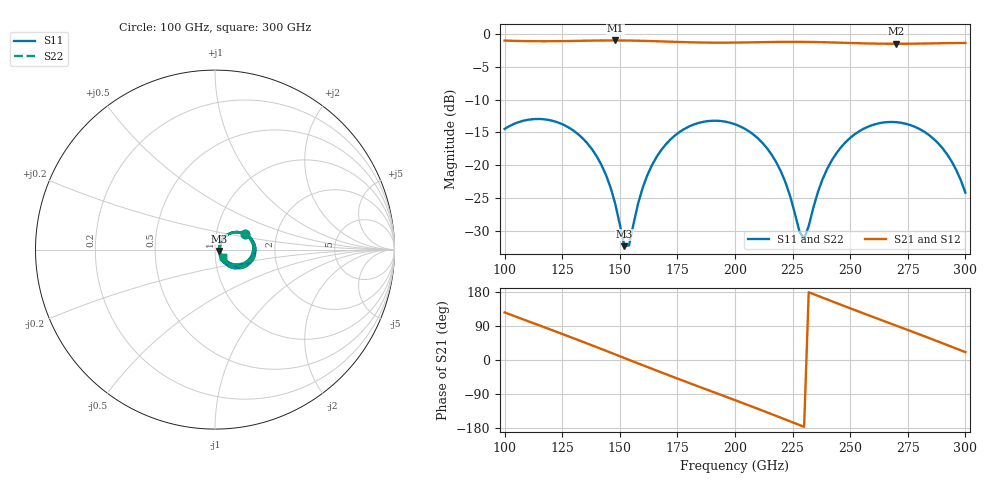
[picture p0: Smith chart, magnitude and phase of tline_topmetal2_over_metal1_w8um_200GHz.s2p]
#  GHZ S DB R 50
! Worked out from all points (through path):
!   101 points, 100 GHz to 300 GHz, reference 50 ohm
!   highest |S21| = -0.95 dB at 148 GHz (marker M1); lowest = -1.5 dB at 270 GHz (marker M2)
!   group delay of S21, straight-line fit = 6.47 ps
!   lowest |S11| = -32.4 dB at 152 GHz (marker M3), VSWR 1.05, Z = 52.3 - j0.876 ohm
!   |S11| at or under -10 dB: start of sweep to end of sweep
!   |S22| runs from -32.6 to -12.9 dB; largest |S21 - S12| = 1.5e-13
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100  -14.47 27.5  -0.97 125.6  -0.97 125.6  -14.46 27.1
118  -13.03 -9.0  -1.07 84.7  -1.07 84.7  -13.03 -9.4
134  -15.94 -40.7  -1.00 47.9  -1.00 47.9  -15.95 -41.2
142  -19.94 -53.6  -0.96 29.0  -0.96 29.0  -19.96 -54.2
148  -25.88 -53.8  -0.95 14.8  -0.95 14.8  -25.94 -54.5
152  -32.38 -20.4  -0.96 5.2  -0.96 5.2  -32.56 -20.8
154  -32.25 20.1  -0.97 0.5  -0.97 0.5  -32.39 20.4
158  -25.79 51.8  -0.99 -9.1  -0.99 -9.1  -25.80 52.0
162  -21.49 53.3  -1.03 -18.6  -1.03 -18.6  -21.49 53.3
168  -17.69 45.7  -1.09 -32.7  -1.09 -32.7  -17.69 45.4
184  -13.57 15.5  -1.26 -69.5  -1.26 -69.5  -13.57 15.1
200  -13.75 -16.4  -1.28 -105.9  -1.28 -105.9  -13.75 -16.9
218  -19.62 -47.5  -1.18 -147.8  -1.18 -147.8  -19.62 -48.3
230  -31.26 7.1  -1.17 -176.4  -1.17 -176.4  -31.48 6.6
234  -26.51 46.8  -1.19 174.1  -1.19 174.1  -26.59 47.0
240  -20.58 51.8  -1.23 159.8  -1.23 159.8  -20.60 51.7
248  -16.49 40.8  -1.32 141.1  -1.32 141.1  -16.50 40.6
258  -14.09 22.4  -1.41 118.0  -1.41 118.0  -14.09 22.0
268  -13.40 2.9  -1.46 95.2  -1.46 95.2  -13.40 2.5
270  -13.43 -1.0  -1.46 90.6  -1.46 90.6  -13.43 -1.4
288  -16.59 -34.6  -1.38 49.1  -1.38 49.1  -16.59 -35.0
300  -24.19 -42.9  -1.33 20.7  -1.33 20.7  -24.15 -43.2
